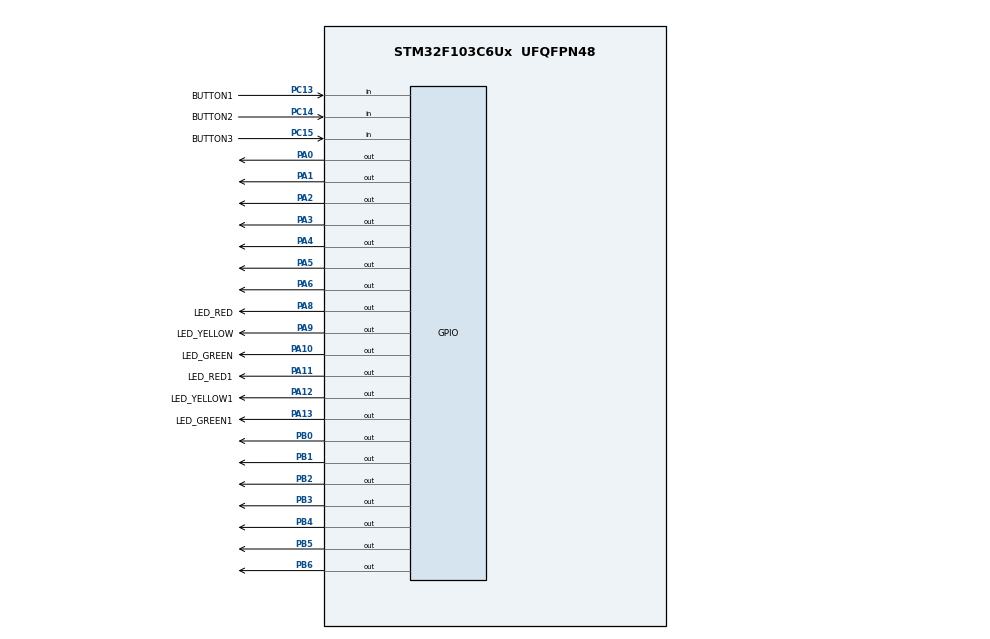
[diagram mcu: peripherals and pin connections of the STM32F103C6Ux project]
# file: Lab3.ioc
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Mcu.Family=STM32F1
Mcu.Name=STM32F103C6Ux
Mcu.Package=UFQFPN48
NVIC.PriorityGroup=NVIC_PRIORITYGROUP_4
NVIC.TIM2_IRQn=true\:0\:0\:false\:false\:true\:true\:true
PA0-WKUP.Signal=GPIO_Output
PA1.Signal=GPIO_Output
PA10.GPIO_Label=LED_GREEN
PA10.Signal=GPIO_Output
PA11.GPIO_Label=LED_RED1
PA11.Signal=GPIO_Output
PA12.GPIO_Label=LED_YELLOW1
PA12.Signal=GPIO_Output
PA13.GPIO_Label=LED_GREEN1
PA13.Signal=GPIO_Output
PA2.Signal=GPIO_Output
PA3.Signal=GPIO_Output
PA4.Signal=GPIO_Output
PA5.Signal=GPIO_Output
PA6.Signal=GPIO_Output
PA8.GPIO_Label=LED_RED
PA8.Signal=GPIO_Output
PA9.GPIO_Label=LED_YELLOW
PA9.Signal=GPIO_Output
PB0.Signal=GPIO_Output
PB1.Signal=GPIO_Output
PB2.Signal=GPIO_Output
PB3.Signal=GPIO_Output
PB4.Signal=GPIO_Output
PB5.Signal=GPIO_Output
PB6.Signal=GPIO_Output
PC13-TAMPER-RTC.GPIO_Label=BUTTON1
PC13-TAMPER-RTC.GPIO_PuPd=GPIO_PULLUP
PC13-TAMPER-RTC.Signal=GPIO_Input
PC14-OSC32_IN.GPIO_Label=BUTTON2
PC14-OSC32_IN.GPIO_PuPd=GPIO_PULLUP
PC14-OSC32_IN.Signal=GPIO_Input
PC15-OSC32_OUT.GPIO_Label=BUTTON3
PC15-OSC32_OUT.GPIO_PuPd=GPIO_PULLUP
PC15-OSC32_OUT.Signal=GPIO_Input
ProjectManager.HeapSize=0x200
ProjectManager.StackSize=0x400
ProjectManager.TargetToolchain=STM32CubeIDE
RCC.APB1Freq_Value=8000000
RCC.APB2Freq_Value=8000000
TIM2.Period=10
TIM2.Prescaler=7999
VP_SYS_VS_ND.Mode=No_Debug
VP_TIM2_VS_ClockSourceINT.Mode=Internal
board=custom

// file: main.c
/* USER CODE BEGIN Header */
/**
  ******************************************************************************
  * @file           : main.c
  * @brief          : Main program body
  ******************************************************************************
  * @attention
  *
  * <h2><center>&copy; Copyright (c) 2022 STMicroelectronics.
  * All rights reserved.</center></h2>
  *
  * This software component is licensed by ST under BSD 3-Clause license,
  * the "License"; You may not use this file except in compliance with the
  * License. You may obtain a copy of the License at:
  *                        opensource.org/licenses/BSD-3-Clause
  *
  ******************************************************************************
  */
/* USER CODE END Header */
#include "main.h"

/* USER CODE BEGIN Includes */
#include "global.h"
#include "fsm_automatic.h"
#include "fsm_manual.h"
#include "fsm_automatic7SEG.h"
#include "fsm_manual7SEG.h"
/* USER CODE END Includes */

TIM_HandleTypeDef htim2;

void SystemClock_Config(void);
static void MX_GPIO_Init(void);
static void MX_TIM2_Init(void);

int main(void)
{

  /* MCU Configuration--------------------------------------------------------*/

  /* Reset of all peripherals, Initializes the Flash interface and the Systick. */
  HAL_Init();

  /* Configure the system clock */
  SystemClock_Config();

  /* Initialize all configured peripherals */
  MX_GPIO_Init();
  MX_TIM2_Init();
  /* USER CODE BEGIN 2 */
  HAL_TIM_Base_Start_IT(&htim2);
  /* USER CODE END 2 */

  /* Infinite loop */
  /* USER CODE BEGIN WHILE */
  status1 = 1;
  status2 = 1;
  counter1 = 1;
  counter2 = 1;
  counter3 = 1;
  counter4 = 1;
  while (1)
  {
    /* USER CODE END WHILE */

    /* USER CODE BEGIN 3 */
	  fsm_automatic_run();
	  fsm_manual_run();
	  fsm_automatic7SEG_run();
	  fsm_manual7SEG_run();
  }
  /* USER CODE END 3 */
}

void SystemClock_Config(void)
{
  RCC_OscInitTypeDef RCC_OscInitStruct = {0};
  RCC_ClkInitTypeDef RCC_ClkInitStruct = {0};

  /** Initializes the RCC Oscillators according to the specified parameters
  * in the RCC_OscInitTypeDef structure.
  */
  RCC_OscInitStruct.OscillatorType = RCC_OSCILLATORTYPE_HSI;
  RCC_OscInitStruct.HSIState = RCC_HSI_ON;
  RCC_OscInitStruct.HSICalibrationValue = RCC_HSICALIBRATION_DEFAULT;
  RCC_OscInitStruct.PLL.PLLState = RCC_PLL_NONE;
  if (HAL_RCC_OscConfig(&RCC_OscInitStruct) != HAL_OK)
  {
    Error_Handler();
  }
  /** Initializes the CPU, AHB and APB buses clocks
  */
  RCC_ClkInitStruct.ClockType = RCC_CLOCKTYPE_HCLK|RCC_CLOCKTYPE_SYSCLK
                              |RCC_CLOCKTYPE_PCLK1|RCC_CLOCKTYPE_PCLK2;
  RCC_ClkInitStruct.SYSCLKSource = RCC_SYSCLKSOURCE_HSI;
  RCC_ClkInitStruct.AHBCLKDivider = RCC_SYSCLK_DIV1;
  RCC_ClkInitStruct.APB1CLKDivider = RCC_HCLK_DIV1;
  RCC_ClkInitStruct.APB2CLKDivider = RCC_HCLK_DIV1;

  if (HAL_RCC_ClockConfig(&RCC_ClkInitStruct, FLASH_LATENCY_0) != HAL_OK)
  {
    Error_Handler();
  }
}

static void MX_TIM2_Init(void)
{

  TIM_ClockConfigTypeDef sClockSourceConfig = {0};
  TIM_MasterConfigTypeDef sMasterConfig = {0};

  htim2.Instance = TIM2;
  htim2.Init.Prescaler = 7999;
  htim2.Init.CounterMode = TIM_COUNTERMODE_UP;
  htim2.Init.Period = 10;
  htim2.Init.ClockDivision = TIM_CLOCKDIVISION_DIV1;
  htim2.Init.AutoReloadPreload = TIM_AUTORELOAD_PRELOAD_DISABLE;
  if (HAL_TIM_Base_Init(&htim2) != HAL_OK)
  {
    Error_Handler();
  }
  sClockSourceConfig.ClockSource = TIM_CLOCKSOURCE_INTERNAL;
  if (HAL_TIM_ConfigClockSource(&htim2, &sClockSourceConfig) != HAL_OK)
  {
    Error_Handler();
  }
  sMasterConfig.MasterOutputTrigger = TIM_TRGO_RESET;
  sMasterConfig.MasterSlaveMode = TIM_MASTERSLAVEMODE_DISABLE;
  if (HAL_TIMEx_MasterConfigSynchronization(&htim2, &sMasterConfig) != HAL_OK)
  {
    Error_Handler();
  }

}

static void MX_GPIO_Init(void)
{
  GPIO_InitTypeDef GPIO_InitStruct = {0};

  /* GPIO Ports Clock Enable */
  __HAL_RCC_GPIOC_CLK_ENABLE();
  __HAL_RCC_GPIOA_CLK_ENABLE();
  __HAL_RCC_GPIOB_CLK_ENABLE();

  /*Configure GPIO pin Output Level */
  HAL_GPIO_WritePin(GPIOA, GPIO_PIN_0|GPIO_PIN_1|GPIO_PIN_2|GPIO_PIN_3
                          |GPIO_PIN_4|GPIO_PIN_5|GPIO_PIN_6|LED_RED_Pin
                          |LED_YELLOW_Pin|LED_GREEN_Pin|LED_RED1_Pin|LED_YELLOW1_Pin
                          |LED_GREEN1_Pin, GPIO_PIN_RESET);

  /*Configure GPIO pin Output Level */
  HAL_GPIO_WritePin(GPIOB, GPIO_PIN_0|GPIO_PIN_1|GPIO_PIN_2|GPIO_PIN_3
                          |GPIO_PIN_4|GPIO_PIN_5|GPIO_PIN_6, GPIO_PIN_RESET);

  /*Configure GPIO pins : BUTTON1_Pin BUTTON2_Pin BUTTON3_Pin */
  GPIO_InitStruct.Pin = BUTTON1_Pin|BUTTON2_Pin|BUTTON3_Pin;
  GPIO_InitStruct.Mode = GPIO_MODE_INPUT;
  GPIO_InitStruct.Pull = GPIO_PULLUP;
  HAL_GPIO_Init(GPIOC, &GPIO_InitStruct);

  /*Configure GPIO pins : PA0 PA1 PA2 PA3
                           PA4 PA5 PA6 LED_RED_Pin
                           LED_YELLOW_Pin LED_GREEN_Pin LED_RED1_Pin LED_YELLOW1_Pin
                           LED_GREEN1_Pin */
  GPIO_InitStruct.Pin = GPIO_PIN_0|GPIO_PIN_1|GPIO_PIN_2|GPIO_PIN_3
                          |GPIO_PIN_4|GPIO_PIN_5|GPIO_PIN_6|LED_RED_Pin
                          |LED_YELLOW_Pin|LED_GREEN_Pin|LED_RED1_Pin|LED_YELLOW1_Pin
                          |LED_GREEN1_Pin;
  GPIO_InitStruct.Mode = GPIO_MODE_OUTPUT_PP;
  GPIO_InitStruct.Pull = GPIO_NOPULL;
  GPIO_InitStruct.Speed = GPIO_SPEED_FREQ_LOW;
  HAL_GPIO_Init(GPIOA, &GPIO_InitStruct);

  /*Configure GPIO pins : PB0 PB1 PB2 PB3
                           PB4 PB5 PB6 */
  GPIO_InitStruct.Pin = GPIO_PIN_0|GPIO_PIN_1|GPIO_PIN_2|GPIO_PIN_3
                          |GPIO_PIN_4|GPIO_PIN_5|GPIO_PIN_6;
  GPIO_InitStruct.Mode = GPIO_MODE_OUTPUT_PP;
  GPIO_InitStruct.Pull = GPIO_NOPULL;
  GPIO_InitStruct.Speed = GPIO_SPEED_FREQ_LOW;
  HAL_GPIO_Init(GPIOB, &GPIO_InitStruct);

}

/* USER CODE BEGIN 4 */
void HAL_TIM_PeriodElapsedCallback(TIM_HandleTypeDef *htim)
{
	timerRun();
	getKeyInput1();
	getKeyInput2();
	getKeyInput3();
}
/* USER CODE END 4 */

void Error_Handler(void)
{
  __disable_irq();
  while (1)
  {
  }
}

/************************ (C) COPYRIGHT STMicroelectronics *****END OF FILE****/
